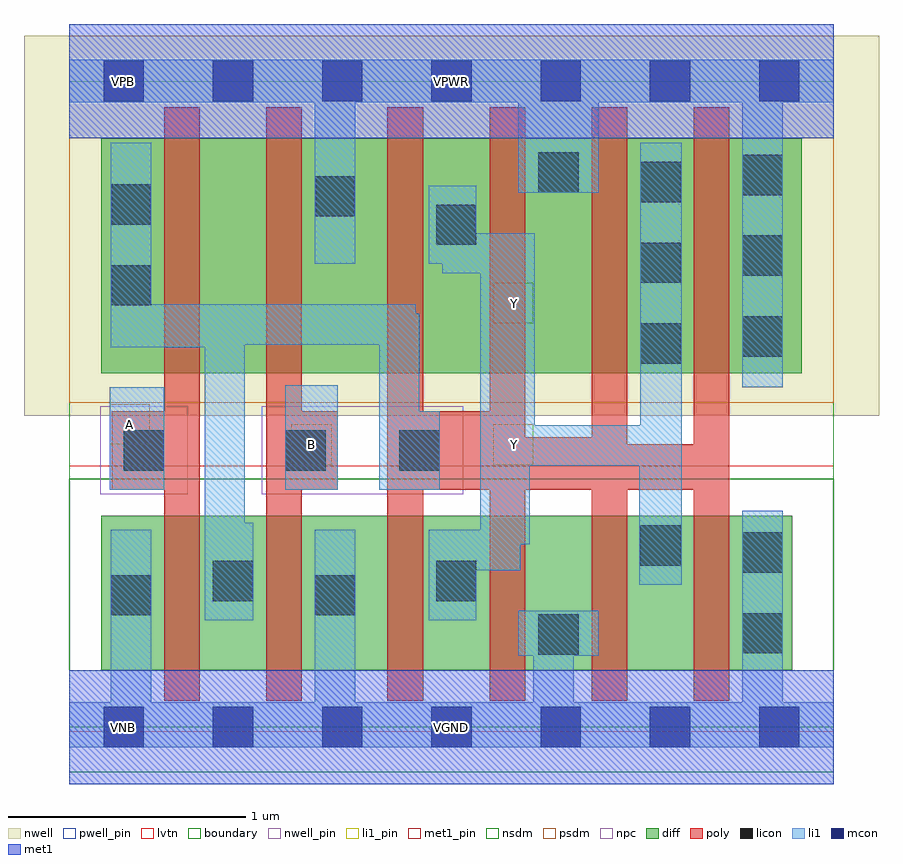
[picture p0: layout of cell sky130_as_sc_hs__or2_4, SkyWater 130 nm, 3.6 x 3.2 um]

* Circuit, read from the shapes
.subckt sky130_as_sc_hs__or2_4 A B VGND VNB VPB VPWR Y
XM1 n1 A VGND VNB sky130_fd_pr__nfet_01v8_lvt w=0.65 l=0.15
XM2 VGND B n1 VNB sky130_fd_pr__nfet_01v8_lvt w=0.65 l=0.15
XM3 Y n1 VGND VNB sky130_fd_pr__nfet_01v8_lvt w=0.65 l=0.15 m=4
XM4 n2 A n1 VPB sky130_fd_pr__pfet_01v8 w=0.99 l=0.15
XM5 VPWR B n2 VPB sky130_fd_pr__pfet_01v8 w=0.99 l=0.15
XM6 Y n1 VPWR VPB sky130_fd_pr__pfet_01v8 w=0.99 l=0.15 m=4
.ends

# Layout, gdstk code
import gdstk
lib = gdstk.Library(unit=1e-6, precision=1e-09)
def R(c, l, rs):  # rectangles x0, y0, x1, y1
    for r in rs: c.add(gdstk.rectangle(r[:2], r[2:], *l))
def A(c, l, x, y, w, h, nx, ny, dx, dy):  # array of equal rectangles
    R(c, l, [(x+i*dx, y+j*dy, x+i*dx+w, y+j*dy+h) for i in range(nx) for j in range(ny)])
nwell_pin = (64, 16)
nwell = (64, 20)
diff = (65, 20)
poly = (66, 20)
licon = (66, 44)
li1_pin = (67, 16)
li1 = (67, 20)
mcon = (67, 44)
met1_pin = (68, 16)
met1 = (68, 20)
nsdm = (93, 44)
psdm = (94, 20)
npc = (95, 20)
pwell_pin = (122, 16)
lvtn = (125, 44)
boundary = (235, 4)

sky130_as_sc_hs__or2_4 = lib.new_cell('sky130_as_sc_hs__or2_4')
R(sky130_as_sc_hs__or2_4, nwell_pin, [(0.145,2.635,0.315,2.805)])
R(sky130_as_sc_hs__or2_4, nwell, [(-0.19,1.31,3.41,2.91)])
R(sky130_as_sc_hs__or2_4, diff, [(0.135,0.24,3.045,0.89), (0.135,1.49,3.085,2.48)])
A(sky130_as_sc_hs__or2_4, poly, 1.34, 0.11, 0.15, 0.89, 4, 1, 0.43, 0)
R(sky130_as_sc_hs__or2_4, poly, [(0.4,0.11,0.55,1), (0.83,0.11,0.98,1), (0.18,1,0.55,1.33), (0.83,1,1.13,1.33), (1.34,1,2.78,1.19), (1.34,1.19,2.35,1.22), (2.63,1.19,2.78,2.61), (1.34,1.22,1.92,1.33), (2.2,1.22,2.35,2.61), (0.4,1.33,0.55,2.61), (0.83,1.33,0.98,2.61), (1.34,1.33,1.49,2.61), (1.77,1.33,1.92,2.61)])
A(sky130_as_sc_hs__or2_4, licon, 2.405, 1.53, 0.17, 0.17, 1, 3, 0, 0.34)
A(sky130_as_sc_hs__or2_4, licon, 2.835, 1.56, 0.17, 0.17, 1, 3, 0, 0.34)
R(sky130_as_sc_hs__or2_4, licon, [(1.975,0.305,2.145,0.475), (2.835,0.31,3.005,0.48), (0.175,0.47,0.345,0.64), (1.035,0.47,1.205,0.64), (0.605,0.53,0.775,0.7), (1.545,0.53,1.715,0.7), (2.835,0.65,3.005,0.82), (2.405,0.68,2.575,0.85), (0.23,1.08,0.4,1.25), (0.91,1.08,1.08,1.25), (1.39,1.08,1.56,1.25), (0.175,1.775,0.345,1.945), (1.545,2.03,1.715,2.2), (0.175,2.115,0.345,2.285), (1.035,2.15,1.205,2.32), (1.975,2.25,2.145,2.42)])
R(sky130_as_sc_hs__or2_4, li1_pin, [(0.935,1.105,1.105,1.275), (1.785,1.105,1.955,1.275), (0.17,1.19,0.34,1.36), (1.785,1.7,1.955,1.87)])
R(sky130_as_sc_hs__or2_4, li1, [(0,-0.085,3.22,0.105), (0.175,0.105,0.345,0.83), (1.035,0.105,1.205,0.83), (1.955,0.105,2.125,0.3), (2.835,0.105,3.005,0.91), (1.89,0.3,2.23,0.49), (0.57,0.45,0.775,0.86), (1.515,0.45,1.715,0.66), (2.4,0.6,2.58,1.1), (1.515,0.66,1.9,0.77), (1.515,0.77,1.94,0.83), (1.73,0.83,1.94,1.1), (0.57,0.86,0.74,1.6), (0.17,1,0.4,1.43), (0.91,1,1.13,1.44), (1.305,1,1.56,1.33), (1.73,1.1,2.58,1.27), (1.73,1.27,1.96,1.91), (2.405,1.27,2.58,2.46), (1.305,1.33,1.475,1.61), (2.835,1.43,3.005,2.63), (0.175,1.6,0.74,1.61), (0.175,1.61,1.475,1.74), (0.175,1.74,1.46,1.78), (0.175,1.78,0.345,2.46), (1.57,1.91,1.96,1.95), (1.035,1.95,1.205,2.63), (1.515,1.95,1.96,2.08), (1.515,2.08,1.715,2.28), (1.89,2.25,2.23,2.63), (0,2.63,3.22,2.81)])
A(sky130_as_sc_hs__or2_4, mcon, 0.145, -0.085, 0.17, 0.17, 7, 2, 0.46, 2.72)
R(sky130_as_sc_hs__or2_4, met1_pin, [(0,-0.24,3.22,0.24), (0.145,-0.085,0.315,0.085), (0,2.48,3.22,2.96), (0.145,2.635,0.315,2.805)])
R(sky130_as_sc_hs__or2_4, met1, [(0,-0.24,3.22,0.24), (0,2.48,3.22,2.96)])
R(sky130_as_sc_hs__or2_4, nsdm, [(0,-0.19,3.22,1.045)])
R(sky130_as_sc_hs__or2_4, psdm, [(0,1.365,3.22,2.91)])
R(sky130_as_sc_hs__or2_4, npc, [(0.13,0.98,0.5,1.35), (0.81,0.98,1.66,1.35)])
R(sky130_as_sc_hs__or2_4, pwell_pin, [(0.145,-0.085,0.315,0.085)])
R(sky130_as_sc_hs__or2_4, lvtn, [(0,-0.02,3.22,1.1)])
R(sky130_as_sc_hs__or2_4, boundary, [(0,0,3.22,2.72)])
sky130_as_sc_hs__or2_4.add(gdstk.Label('VNB', (0.23,0), layer=64, texttype=59))
sky130_as_sc_hs__or2_4.add(gdstk.Label('VPB', (0.23,2.72), layer=64, texttype=5))
sky130_as_sc_hs__or2_4.add(gdstk.Label('A', (0.255,1.275), layer=67, texttype=5))
sky130_as_sc_hs__or2_4.add(gdstk.Label('B', (1.02,1.19), layer=67, texttype=5))
sky130_as_sc_hs__or2_4.add(gdstk.Label('Y', (1.875,1.19), layer=67, texttype=5))
sky130_as_sc_hs__or2_4.add(gdstk.Label('Y', (1.875,1.785), layer=67, texttype=5))
sky130_as_sc_hs__or2_4.add(gdstk.Label('VNB', (0.23,0), layer=64, texttype=59))
sky130_as_sc_hs__or2_4.add(gdstk.Label('VPB', (0.23,2.72), layer=64, texttype=5))
sky130_as_sc_hs__or2_4.add(gdstk.Label('VPWR', (1.61,2.72), layer=68, texttype=5))
sky130_as_sc_hs__or2_4.add(gdstk.Label('VPWR', (0.23,2.72), layer=68, texttype=5))
sky130_as_sc_hs__or2_4.add(gdstk.Label('VGND', (1.61,0), layer=68, texttype=5))
sky130_as_sc_hs__or2_4.add(gdstk.Label('VGND', (0.23,0), layer=68, texttype=5))
sky130_as_sc_hs__or2_4.add(gdstk.Label('A', (0.255,1.275), layer=67, texttype=5))
sky130_as_sc_hs__or2_4.add(gdstk.Label('B', (1.02,1.19), layer=67, texttype=5))
sky130_as_sc_hs__or2_4.add(gdstk.Label('Y', (1.87,1.785), layer=67, texttype=5))
sky130_as_sc_hs__or2_4.add(gdstk.Label('Y', (1.87,1.19), layer=67, texttype=5))

lib.write_gds('sky130_as_sc_hs__or2_4.gds')
